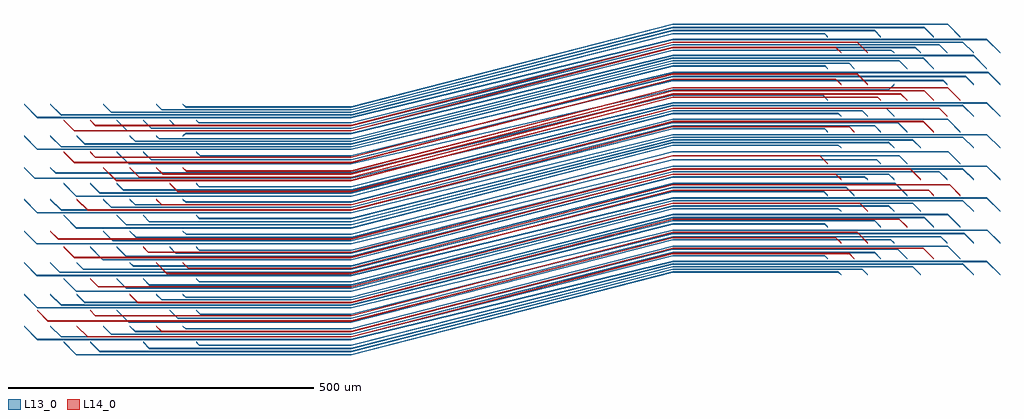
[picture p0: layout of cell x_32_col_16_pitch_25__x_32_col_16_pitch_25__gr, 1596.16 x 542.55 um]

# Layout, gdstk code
import gdstk
lib = gdstk.Library(unit=1e-6, precision=1e-09)
def R(c, l, rs):  # rectangles x0, y0, x1, y1
    for r in rs: c.add(gdstk.rectangle(r[:2], r[2:], *l))
def A(c, l, x, y, w, h, nx, ny, dx, dy):  # array of equal rectangles
    R(c, l, [(x+i*dx, y+j*dy, x+i*dx+w, y+j*dy+h) for i in range(nx) for j in range(ny)])
def P(c, l, *ps):  # polygons
    for p in ps: c.add(gdstk.Polygon(p, *l))
L13_0 = (13, 0)
L14_0 = (14, 0)

x_32_col_16_pitch_25__x_ = lib.new_cell('x_32_col_16_pitch_25__x_32_col_16_pitch_25__gr')
A(x_32_col_16_pitch_25__x_, L13_0, 1425.106, 1466.224, 449.894, 2, 1, 3, 0, 103.68)
A(x_32_col_16_pitch_25__x_, L13_0, 1544.638, 1476.592, 330.362, 2, 1, 3, 0, 103.68)
A(x_32_col_16_pitch_25__x_, L13_0, 1506.522, 1575.088, 368.478, 2, 1, 3, 0, 51.84)
A(x_32_col_16_pitch_25__x_, L13_0, 1626.054, 1585.456, 248.946, 2, 1, 4, 0, 51.84)
A(x_32_col_16_pitch_25__x_, L13_0, 2400, 1601.56, 271.46, 2, 1, 3, 0, 103.68)
A(x_32_col_16_pitch_25__x_, L13_0, 2400, 1610.2, 392.72, 2, 1, 3, 0, 103.68)
A(x_32_col_16_pitch_25__x_, L13_0, 2400, 1680.184, 248.946, 2, 1, 3, 0, 155.52)
A(x_32_col_16_pitch_25__x_, L13_0, 2400, 1685.368, 330.362, 2, 1, 3, 0, 155.52)
A(x_32_col_16_pitch_25__x_, L13_0, 2400, 1695.736, 449.894, 2, 1, 3, 0, 155.52)
A(x_32_col_16_pitch_25__x_, L13_0, 2400, 1709.56, 353.74, 2, 1, 3, 0, 51.84)
A(x_32_col_16_pitch_25__x_, L13_0, 2400, 1718.2, 475, 2, 1, 4, 0, 51.84)
A(x_32_col_16_pitch_25__x_, L13_0, 2400, 1722.52, 513.982, 2, 1, 4, 0, 51.84)
R(x_32_col_16_pitch_25__x_, L13_0, [(1463.222,1471.408,1875,1473.408), (1626.054,1481.776,1875,1483.776), (1361.017,1491.28,1875,1493.28), (1400,1495.6,1875,1497.6), (1482.28,1499.92,1875,1501.92), (1521.26,1504.24,1875,1506.24), (1603.54,1508.56,1875,1510.56), (1510.41,1519.36,1875,1521.36), (1590.53,1525.84,1875,1527.84), (1627.35,1532.32,1875,1534.32), (1361.017,1543.12,1875,1545.12), (1400,1547.44,1875,1549.44), (1438.98,1551.76,1875,1553.76), (1564.56,1556.08,1875,1558.08), (1603.54,1560.4,1875,1562.4), (1360.153,1595.824,1875,1597.824), (1398.272,1601.008,1875,1603.008), (2400,1605.88,2710.44,1607.88), (1436.388,1606.192,1875,1608.192), (1517.804,1611.376,1875,1613.376), (2400,1614.52,2875,1616.52), (2400,1618.84,2913.982,1620.84), (1468.406,1621.744,1875,1623.744), (2400,1628.344,2648.946,1630.344), (1587.938,1632.112,1875,1634.112), (2400,1633.528,2730.362,1635.528), (2400,1638.712,2768.478,1640.712), (2400,1643.896,2849.894,1645.896), (1360.153,1647.664,1875,1649.664), (1484.872,1652.848,1875,1654.848), (2400,1654.264,2757.196,1656.264), (1522.988,1658.032,1875,1660.032), (2400,1659.448,2838.612,1661.448), (1604.404,1663.216,1875,1665.216), (2400,1664.632,2876.728,1666.632), (2400,1669.816,2914.846,1671.816), (2400,1690.552,2811.778,1692.552), (1361.017,1698.64,1875,1700.64), (1400,1702.96,1875,1704.96), (1482.28,1707.28,1875,1709.28), (1521.26,1711.6,1875,1713.6), (1603.54,1715.92,1875,1717.92), (1425.106,1725.424,1875,1727.424), (1463.222,1730.608,1875,1732.608), (2400,1733.32,2647.65,1735.32), (1501.338,1735.792,1875,1737.792), (2400,1739.8,2684.47,1741.8), (2400,1746.28,2764.59,1748.28), (1356.697,1754.8,1875,1756.8), (2400,1757.08,2714.76,1759.08), (1391.36,1763.44,1875,1765.44), (2400,1765.72,2836.02,1767.72), (1510.41,1778.56,1875,1780.56), (1547.23,1785.04,1875,1787.04), (2400,1785.16,2734.25,1787.16), (1627.35,1791.52,1875,1793.52), (2400,1791.64,2771.07,1793.64), (2400,1798.12,2851.19,1800.12), (1361.017,1802.32,1875,1804.32), (1400,1806.64,1875,1808.64), (1438.98,1810.96,1875,1812.96), (1521.26,1815.28,1875,1817.28), (1560.24,1819.6,1875,1821.6), (1603.54,1828.24,1875,1830.24), (1508.25,1832.56,1875,1834.56), (1547.23,1836.88,1875,1838.88), (1586.21,1841.2,1875,1843.2), (1625.19,1845.52,1875,1847.52), (2400,1846.072,2768.478,1848.072), (1361.017,1854.16,1875,1856.16), (1400,1858.48,1875,1860.48), (2400,1860.76,2671.46,1862.76), (1482.28,1862.8,1875,1864.8), (2400,1865.08,2710.44,1867.08), (1564.56,1867.12,1875,1869.12), (2400,1869.4,2749.42,1871.4), (1603.54,1871.44,1875,1873.44), (2400,1891,2645.49,1893), (2400,1899.64,2753.74,1901.64), (2400,1914.76,2842.5,1916.76), (2400,1921.24,2879.32,1923.24), (2400,1927.72,2916.142,1929.72), (2400,1938.52,2649.81,1940.52), (2400,1942.84,2688.79,1944.84), (2400,1947.16,2771.07,1949.16), (2400,1951.48,2810.05,1953.48), (2400,1955.8,2892.332,1957.8), (2400,1964.44,2758.06,1966.44), (2400,1968.76,2797.04,1970.76), (2400,1973.08,2836.02,1975.08), (2400,1977.4,2875,1979.4), (2400,1981.72,2913.982,1983.72), (2400,2001.592,2811.778,2003.592)])
P(x_32_col_16_pitch_25__x_, L13_0, [(2654.13,1986.04),(2654.13,1988.04),(2648.946,1993.224),(2648.946,1991.224)],
  [(2400,1991.224),(2400,1993.224),(1875,1860.48),(1875,1858.48)],
  [(1400,1858.48),(1400,1860.48),(1382.72,1877.76),(1382.72,1875.76)],
  [(2740.73,1986.04),(2740.73,1988.04),(2730.362,1998.408),(2730.362,1996.408)],
  [(2400,1996.408),(2400,1998.408),(1875,1864.8),(1875,1862.8)],
  [(1482.28,1862.8),(1482.28,1864.8),(1469.32,1877.76),(1469.32,1875.76)],
  [(2827.33,1986.04),(2827.33,1988.04),(2811.778,2003.592),(2811.778,2001.592)],
  [(2400,2001.592),(2400,2003.592),(1875,1869.12),(1875,1867.12)],
  [(1564.56,1867.12),(1564.56,1869.12),(1555.92,1877.76),(1555.92,1875.76)],
  [(2870.63,1986.04),(2870.63,1988.04),(2849.894,2008.776),(2849.894,2006.776)],
  [(2400,2006.776),(2400,2008.776),(1875,1873.44),(1875,1871.44)],
  [(1603.54,1871.44),(1603.54,1873.44),(1599.22,1877.76),(1599.22,1875.76)],
  [(2762.38,1960.12),(2762.38,1962.12),(2758.06,1966.44),(2758.06,1964.44)],
  [(2400,1964.44),(2400,1966.44),(1875,1834.56),(1875,1832.56)],
  [(1508.25,1832.56),(1508.25,1834.56),(1490.97,1851.84),(1490.97,1849.84)],
  [(2805.68,1960.12),(2805.68,1962.12),(2797.04,1970.76),(2797.04,1968.76)],
  [(2400,1968.76),(2400,1970.76),(1875,1838.88),(1875,1836.88)],
  [(1547.23,1836.88),(1547.23,1838.88),(1534.27,1851.84),(1534.27,1849.84)],
  [(2848.98,1960.12),(2848.98,1962.12),(2836.02,1975.08),(2836.02,1973.08)],
  [(2400,1973.08),(2400,1975.08),(1875,1843.2),(1875,1841.2)],
  [(1586.21,1841.2),(1586.21,1843.2),(1577.57,1851.84),(1577.57,1849.84)],
  [(2892.28,1960.12),(2892.28,1962.12),(2875,1979.4),(2875,1977.4)],
  [(2400,1977.4),(2400,1979.4),(1875,1847.52),(1875,1845.52)],
  [(1625.19,1845.52),(1625.19,1847.52),(1620.87,1851.84),(1620.87,1849.84)],
  [(2935.582,1960.12),(2935.582,1962.12),(2913.982,1983.72),(2913.982,1981.72)],
  [(2400,1981.72),(2400,1983.72),(1875,1856.16),(1875,1854.16)],
  [(1361.017,1854.16),(1361.017,1856.16),(1339.417,1877.76),(1339.417,1875.76)],
  [(2654.13,1934.2),(2654.13,1936.2),(2649.81,1940.52),(2649.81,1938.52)],
  [(2400,1938.52),(2400,1940.52),(1875,1808.64),(1875,1806.64)],
  [(1400,1806.64),(1400,1808.64),(1382.72,1825.92),(1382.72,1823.92)],
  [(2697.43,1934.2),(2697.43,1936.2),(2688.79,1944.84),(2688.79,1942.84)],
  [(2400,1942.84),(2400,1944.84),(1875,1812.96),(1875,1810.96)],
  [(1438.98,1810.96),(1438.98,1812.96),(1426.02,1825.92),(1426.02,1823.92)],
  [(2784.03,1934.2),(2784.03,1936.2),(2771.07,1949.16),(2771.07,1947.16)],
  [(2400,1947.16),(2400,1949.16),(1875,1817.28),(1875,1815.28)],
  [(1521.26,1815.28),(1521.26,1817.28),(1512.62,1825.92),(1512.62,1823.92)],
  [(2827.33,1934.2),(2827.33,1936.2),(2810.05,1953.48),(2810.05,1951.48)],
  [(2400,1951.48),(2400,1953.48),(1875,1821.6),(1875,1819.6)],
  [(1560.24,1819.6),(1560.24,1821.6),(1555.92,1825.92),(1555.92,1823.92)],
  [(2913.932,1934.2),(2913.932,1936.2),(2892.332,1957.8),(2892.332,1955.8)],
  [(2400,1955.8),(2400,1957.8),(1875,1830.24),(1875,1828.24)],
  [(1603.54,1828.24),(1603.54,1830.24),(1599.22,1825.92),(1599.22,1823.92)],
  [(2762.38,1908.28),(2762.38,1910.28),(2753.74,1901.64),(2753.74,1899.64)],
  [(2400,1899.64),(2400,1901.64),(1875,1780.56),(1875,1778.56)],
  [(1510.41,1778.56),(1510.41,1780.56),(1490.97,1800),(1490.97,1798)],
  [(2848.98,1908.28),(2848.98,1910.28),(2842.5,1916.76),(2842.5,1914.76)],
  [(2400,1914.76),(2400,1916.76),(1875,1787.04),(1875,1785.04)],
  [(1547.23,1785.04),(1547.23,1787.04),(1534.27,1800),(1534.27,1798)],
  [(2892.28,1908.28),(2892.28,1910.28),(2879.32,1923.24),(2879.32,1921.24)],
  [(2400,1921.24),(2400,1923.24),(1875,1793.52),(1875,1791.52)],
  [(1627.35,1791.52),(1627.35,1793.52),(1620.87,1800),(1620.87,1798)],
  [(2935.582,1908.28),(2935.582,1910.28),(2916.142,1929.72),(2916.142,1927.72)],
  [(2400,1927.72),(2400,1929.72),(1875,1804.32),(1875,1802.32)],
  [(1361.017,1802.32),(1361.017,1804.32),(1339.417,1825.92),(1339.417,1823.92)],
  [(2654.13,1882.36),(2654.13,1884.36),(2645.49,1893),(2645.49,1891)],
  [(2400,1891),(2400,1893),(1875,1765.44),(1875,1763.44)],
  [(1391.36,1763.44),(1391.36,1765.44),(1382.72,1774.08),(1382.72,1772.08)],
  [(2675.78,1856.44),(2675.78,1858.44),(2671.46,1862.76),(2671.46,1860.76)],
  [(2400,1860.76),(2400,1862.76),(1875,1727.424),(1875,1725.424)],
  [(1425.106,1725.424),(1425.106,1727.424),(1404.37,1748.16),(1404.37,1746.16)],
  [(2719.08,1856.44),(2719.08,1858.44),(2710.44,1867.08),(2710.44,1865.08)],
  [(2400,1865.08),(2400,1867.08),(1875,1732.608),(1875,1730.608)],
  [(1463.222,1730.608),(1463.222,1732.608),(1447.67,1748.16),(1447.67,1746.16)],
  [(2762.38,1856.44),(2762.38,1858.44),(2749.42,1871.4),(2749.42,1869.4)],
  [(2400,1869.4),(2400,1871.4),(1875,1737.792),(1875,1735.792)],
  [(1501.338,1735.792),(1501.338,1737.792),(1490.97,1748.16),(1490.97,1746.16)],
  [(2892.28,1856.44),(2892.28,1858.44),(2875,1875.72),(2875,1873.72)],
  [(2400,1873.72),(2400,1875.72),(1875,1742.976),(1875,1740.976)],
  [(1626.054,1740.976),(1626.054,1742.976),(1620.87,1748.16),(1620.87,1746.16)],
  [(2935.582,1856.44),(2935.582,1858.44),(2913.982,1880.04),(2913.982,1878.04)],
  [(2400,1878.04),(2400,1880.04),(1875,1756.8),(1875,1754.8)],
  [(1356.697,1754.8),(1356.697,1756.8),(1339.417,1774.08),(1339.417,1772.08)],
  [(2654.13,1830.52),(2654.13,1832.52),(2648.946,1837.704),(2648.946,1835.704)],
  [(2400,1835.704),(2400,1837.704),(1875,1704.96),(1875,1702.96)],
  [(1400,1702.96),(1400,1704.96),(1382.72,1722.24),(1382.72,1720.24)],
  [(2740.73,1830.52),(2740.73,1832.52),(2730.362,1842.888),(2730.362,1840.888)],
  [(2400,1840.888),(2400,1842.888),(1875,1709.28),(1875,1707.28)],
  [(1482.28,1707.28),(1482.28,1709.28),(1469.32,1722.24),(1469.32,1720.24)],
  [(2784.03,1830.52),(2784.03,1832.52),(2768.478,1848.072),(2768.478,1846.072)],
  [(2400,1846.072),(2400,1848.072),(1875,1713.6),(1875,1711.6)],
  [(1521.26,1711.6),(1521.26,1713.6),(1512.62,1722.24),(1512.62,1720.24)],
  [(2870.63,1830.52),(2870.63,1832.52),(2849.894,1853.256),(2849.894,1851.256)],
  [(2400,1851.256),(2400,1853.256),(1875,1717.92),(1875,1715.92)],
  [(1603.54,1715.92),(1603.54,1717.92),(1599.22,1722.24),(1599.22,1720.24)],
  [(2675.78,1804.6),(2675.78,1806.6),(2671.46,1810.92),(2671.46,1808.92)],
  [(2400,1808.92),(2400,1810.92),(1875,1675.584),(1875,1673.584)],
  [(1425.106,1673.584),(1425.106,1675.584),(1404.37,1696.32),(1404.37,1694.32)],
  [(2762.38,1804.6),(2762.38,1806.6),(2753.74,1815.24),(2753.74,1813.24)],
  [(2400,1813.24),(2400,1815.24),(1875,1680.768),(1875,1678.768)],
  [(1506.522,1678.768),(1506.522,1680.768),(1490.97,1696.32),(1490.97,1694.32)],
  [(2805.68,1804.6),(2805.68,1806.6),(2792.72,1819.56),(2792.72,1817.56)],
  [(2400,1817.56),(2400,1819.56),(1875,1685.952),(1875,1683.952)],
  [(1544.638,1683.952),(1544.638,1685.952),(1534.27,1696.32),(1534.27,1694.32)],
  [(2892.28,1804.6),(2892.28,1806.6),(2875,1823.88),(2875,1821.88)],
  [(2400,1821.88),(2400,1823.88),(1875,1691.136),(1875,1689.136)],
  [(1626.054,1689.136),(1626.054,1691.136),(1620.87,1696.32),(1620.87,1694.32)],
  [(2935.582,1804.6),(2935.582,1806.6),(2913.982,1828.2),(2913.982,1826.2)],
  [(2400,1826.2),(2400,1828.2),(1875,1700.64),(1875,1698.64)],
  [(1361.017,1698.64),(1361.017,1700.64),(1339.417,1722.24),(1339.417,1720.24)],
  [(2740.73,1778.68),(2740.73,1780.68),(2734.25,1787.16),(2734.25,1785.16)],
  [(2400,1785.16),(2400,1787.16),(1875,1654.848),(1875,1652.848)],
  [(1484.872,1652.848),(1484.872,1654.848),(1469.32,1670.4),(1469.32,1668.4)],
  [(2784.03,1778.68),(2784.03,1780.68),(2771.07,1793.64),(2771.07,1791.64)],
  [(2400,1791.64),(2400,1793.64),(1875,1660.032),(1875,1658.032)],
  [(1522.988,1658.032),(1522.988,1660.032),(1512.62,1670.4),(1512.62,1668.4)],
  [(2870.63,1778.68),(2870.63,1780.68),(2851.19,1800.12),(2851.19,1798.12)],
  [(2400,1798.12),(2400,1800.12),(1875,1665.216),(1875,1663.216)],
  [(1604.404,1663.216),(1604.404,1665.216),(1599.22,1670.4),(1599.22,1668.4)],
  [(2719.08,1752.76),(2719.08,1754.76),(2714.76,1759.08),(2714.76,1757.08)],
  [(2400,1757.08),(2400,1759.08),(1875,1623.744),(1875,1621.744)],
  [(1468.406,1621.744),(1468.406,1623.744),(1447.67,1644.48),(1447.67,1642.48)],
  [(2762.38,1752.76),(2762.38,1754.76),(2753.74,1763.4),(2753.74,1761.4)],
  [(2400,1761.4),(2400,1763.4),(1875,1628.928),(1875,1626.928)],
  [(1506.522,1626.928),(1506.522,1628.928),(1490.97,1644.48),(1490.97,1642.48)],
  [(2848.98,1752.76),(2848.98,1754.76),(2836.02,1767.72),(2836.02,1765.72)],
  [(2400,1765.72),(2400,1767.72),(1875,1634.112),(1875,1632.112)],
  [(1587.938,1632.112),(1587.938,1634.112),(1577.57,1644.48),(1577.57,1642.48)],
  [(2892.28,1752.76),(2892.28,1754.76),(2875,1772.04),(2875,1770.04)],
  [(2400,1770.04),(2400,1772.04),(1875,1639.296),(1875,1637.296)],
  [(1626.054,1637.296),(1626.054,1639.296),(1620.87,1644.48),(1620.87,1642.48)],
  [(2935.582,1752.76),(2935.582,1754.76),(2913.982,1776.36),(2913.982,1774.36)],
  [(2400,1774.36),(2400,1776.36),(1875,1649.664),(1875,1647.664)],
  [(1360.153,1647.664),(1360.153,1649.664),(1339.417,1670.4),(1339.417,1668.4)],
  [(2654.13,1726.84),(2654.13,1728.84),(2647.65,1735.32),(2647.65,1733.32)],
  [(2400,1733.32),(2400,1735.32),(1875,1603.008),(1875,1601.008)],
  [(1398.272,1601.008),(1398.272,1603.008),(1382.72,1618.56),(1382.72,1616.56)],
  [(2697.43,1726.84),(2697.43,1728.84),(2684.47,1741.8),(2684.47,1739.8)],
  [(2400,1739.8),(2400,1741.8),(1875,1608.192),(1875,1606.192)],
  [(1436.388,1606.192),(1436.388,1608.192),(1426.02,1618.56),(1426.02,1616.56)],
  [(2784.03,1726.84),(2784.03,1728.84),(2764.59,1748.28),(2764.59,1746.28)],
  [(2400,1746.28),(2400,1748.28),(1875,1613.376),(1875,1611.376)],
  [(1517.804,1611.376),(1517.804,1613.376),(1512.62,1618.56),(1512.62,1616.56)],
  [(2675.78,1700.92),(2675.78,1702.92),(2671.46,1707.24),(2671.46,1705.24)],
  [(2400,1705.24),(2400,1707.24),(1875,1571.904),(1875,1569.904)],
  [(1425.106,1569.904),(1425.106,1571.904),(1404.37,1592.64),(1404.37,1590.64)],
  [(2762.38,1700.92),(2762.38,1702.92),(2753.74,1711.56),(2753.74,1709.56)],
  [(2400,1709.56),(2400,1711.56),(1875,1577.088),(1875,1575.088)],
  [(1506.522,1575.088),(1506.522,1577.088),(1490.97,1592.64),(1490.97,1590.64)],
  [(2805.68,1700.92),(2805.68,1702.92),(2792.72,1715.88),(2792.72,1713.88)],
  [(2400,1713.88),(2400,1715.88),(1875,1582.272),(1875,1580.272)],
  [(1544.638,1580.272),(1544.638,1582.272),(1534.27,1592.64),(1534.27,1590.64)],
  [(2892.28,1700.92),(2892.28,1702.92),(2875,1720.2),(2875,1718.2)],
  [(2400,1718.2),(2400,1720.2),(1875,1587.456),(1875,1585.456)],
  [(1626.054,1585.456),(1626.054,1587.456),(1620.87,1592.64),(1620.87,1590.64)],
  [(2935.582,1700.92),(2935.582,1702.92),(2913.982,1724.52),(2913.982,1722.52)],
  [(2400,1722.52),(2400,1724.52),(1875,1597.824),(1875,1595.824)],
  [(1360.153,1595.824),(1360.153,1597.824),(1339.417,1618.56),(1339.417,1616.56)],
  [(2654.13,1675),(2654.13,1677),(2648.946,1682.184),(2648.946,1680.184)],
  [(2400,1680.184),(2400,1682.184),(1875,1549.44),(1875,1547.44)],
  [(1400,1547.44),(1400,1549.44),(1382.72,1566.72),(1382.72,1564.72)],
  [(2740.73,1675),(2740.73,1677),(2730.362,1687.368),(2730.362,1685.368)],
  [(2400,1685.368),(2400,1687.368),(1875,1553.76),(1875,1551.76)],
  [(1438.98,1551.76),(1438.98,1553.76),(1426.02,1566.72),(1426.02,1564.72)],
  [(2827.33,1675),(2827.33,1677),(2811.778,1692.552),(2811.778,1690.552)],
  [(2400,1690.552),(2400,1692.552),(1875,1558.08),(1875,1556.08)],
  [(1564.56,1556.08),(1564.56,1558.08),(1555.92,1566.72),(1555.92,1564.72)],
  [(2870.63,1675),(2870.63,1677),(2849.894,1697.736),(2849.894,1695.736)],
  [(2400,1695.736),(2400,1697.736),(1875,1562.4),(1875,1560.4)],
  [(1603.54,1560.4),(1603.54,1562.4),(1599.22,1566.72),(1599.22,1564.72)],
  [(2762.38,1649.08),(2762.38,1651.08),(2757.196,1656.264),(2757.196,1654.264)],
  [(2400,1654.264),(2400,1656.264),(1875,1521.36),(1875,1519.36)],
  [(1510.41,1519.36),(1510.41,1521.36),(1490.97,1540.8),(1490.97,1538.8)],
  [(2848.98,1649.08),(2848.98,1651.08),(2838.612,1661.448),(2838.612,1659.448)],
  [(2400,1659.448),(2400,1661.448),(1875,1527.84),(1875,1525.84)],
  [(1590.53,1525.84),(1590.53,1527.84),(1577.57,1540.8),(1577.57,1538.8)],
  [(2892.28,1649.08),(2892.28,1651.08),(2876.728,1666.632),(2876.728,1664.632)],
  [(2400,1664.632),(2400,1666.632),(1875,1534.32),(1875,1532.32)],
  [(1627.35,1532.32),(1627.35,1534.32),(1620.87,1540.8),(1620.87,1538.8)],
  [(2935.582,1649.08),(2935.582,1651.08),(2914.846,1671.816),(2914.846,1669.816)],
  [(2400,1669.816),(2400,1671.816),(1875,1545.12),(1875,1543.12)],
  [(1361.017,1543.12),(1361.017,1545.12),(1339.417,1566.72),(1339.417,1564.72)],
  [(2654.13,1623.16),(2654.13,1625.16),(2648.946,1630.344),(2648.946,1628.344)],
  [(2400,1628.344),(2400,1630.344),(1875,1497.6),(1875,1495.6)],
  [(1400,1495.6),(1400,1497.6),(1382.72,1514.88),(1382.72,1512.88)],
  [(2740.73,1623.16),(2740.73,1625.16),(2730.362,1635.528),(2730.362,1633.528)],
  [(2400,1633.528),(2400,1635.528),(1875,1501.92),(1875,1499.92)],
  [(1482.28,1499.92),(1482.28,1501.92),(1469.32,1514.88),(1469.32,1512.88)],
  [(2784.03,1623.16),(2784.03,1625.16),(2768.478,1640.712),(2768.478,1638.712)],
  [(2400,1638.712),(2400,1640.712),(1875,1506.24),(1875,1504.24)],
  [(1521.26,1504.24),(1521.26,1506.24),(1512.62,1514.88),(1512.62,1512.88)],
  [(2870.63,1623.16),(2870.63,1625.16),(2849.894,1645.896),(2849.894,1643.896)],
  [(2400,1643.896),(2400,1645.896),(1875,1510.56),(1875,1508.56)],
  [(1603.54,1508.56),(1603.54,1510.56),(1599.22,1514.88),(1599.22,1512.88)],
  [(2675.78,1597.24),(2675.78,1599.24),(2671.46,1603.56),(2671.46,1601.56)],
  [(2400,1601.56),(2400,1603.56),(1875,1468.224),(1875,1466.224)],
  [(1425.106,1466.224),(1425.106,1468.224),(1404.37,1488.96),(1404.37,1486.96)],
  [(2719.08,1597.24),(2719.08,1599.24),(2710.44,1607.88),(2710.44,1605.88)],
  [(2400,1605.88),(2400,1607.88),(1875,1473.408),(1875,1471.408)],
  [(1463.222,1471.408),(1463.222,1473.408),(1447.67,1488.96),(1447.67,1486.96)],
  [(2805.68,1597.24),(2805.68,1599.24),(2792.72,1612.2),(2792.72,1610.2)],
  [(2400,1610.2),(2400,1612.2),(1875,1478.592),(1875,1476.592)],
  [(1544.638,1476.592),(1544.638,1478.592),(1534.27,1488.96),(1534.27,1486.96)],
  [(2892.28,1597.24),(2892.28,1599.24),(2875,1616.52),(2875,1614.52)],
  [(2400,1614.52),(2400,1616.52),(1875,1483.776),(1875,1481.776)],
  [(1626.054,1481.776),(1626.054,1483.776),(1620.87,1488.96),(1620.87,1486.96)],
  [(2935.582,1597.24),(2935.582,1599.24),(2913.982,1620.84),(2913.982,1618.84)],
  [(2400,1618.84),(2400,1620.84),(1875,1493.28),(1875,1491.28)],
  [(1361.017,1491.28),(1361.017,1493.28),(1339.417,1514.88),(1339.417,1512.88)])
R(x_32_col_16_pitch_25__x_, L14_0, [(1443.3,1495.6,1875,1497.6), (1564.56,1504.24,1875,1506.24), (1378.347,1521.52,1875,1523.52), (1456.31,1530.16,1875,1532.16), (1525.58,1551.76,1875,1553.76), (1460.63,1577.68,1875,1579.68), (1573.2,1599.28,1875,1601.28), (1607.86,1607.92,1875,1609.92), (1421.65,1625.2,1875,1627.2), (2400,1631.8,2688.79,1633.8), (1542.91,1633.84,1875,1635.84), (2400,1640.44,2810.05,1642.44), (1395.68,1655.44,1875,1657.44), (2400,1657.72,2667.14,1659.72), (2400,1666.36,2701.8,1668.36), (2400,1687.96,2771.07,1689.96), (1443.3,1702.96,1875,1704.96), (1564.56,1711.6,1875,1713.6), (2400,1713.88,2706.12,1715.88), (1590.53,1733.2,1875,1735.2), (2400,1735.48,2818.69,1737.48), (2400,1744.12,2853.35,1746.12), (1490.056,1751.344,1875,1753.344), (1528.172,1756.528,1875,1758.528), (2400,1761.4,2667.14,1763.4), (1566.288,1761.712,1875,1763.712), (1604.404,1766.896,1875,1768.896), (2400,1770.04,2788.4,1772.04), (1421.65,1780.72,1875,1782.72), (1456.31,1789.36,1875,1791.36), (2400,1791.64,2641.17,1793.64), (1421.65,1832.56,1875,1834.56), (2400,1839.16,2688.79,1841.16), (1456.31,1841.2,1875,1843.2), (2400,1847.8,2810.05,1849.8), (2400,1869.4,2836.02,1871.4), (2400,1887.544,2735.546,1889.544), (2400,1892.728,2773.662,1894.728), (2400,1897.912,2811.778,1899.912), (2400,1903.096,2849.894,1905.096), (2400,1916.92,2667.14,1918.92), (2400,1925.56,2701.8,1927.56), (2400,1968.76,2667.14,1970.76), (2400,1977.4,2701.8,1979.4)])
P(x_32_col_16_pitch_25__x_, L14_0, [(2675.78,1960.12),(2675.78,1962.12),(2667.14,1970.76),(2667.14,1968.76)],
  [(2400,1968.76),(2400,1970.76),(1875,1834.56),(1875,1832.56)],
  [(1421.65,1832.56),(1421.65,1834.56),(1404.37,1851.84),(1404.37,1849.84)],
  [(2719.08,1960.12),(2719.08,1962.12),(2701.8,1979.4),(2701.8,1977.4)],
  [(2400,1977.4),(2400,1979.4),(1875,1843.2),(1875,1841.2)],
  [(1456.31,1841.2),(1456.31,1843.2),(1447.67,1851.84),(1447.67,1849.84)],
  [(2675.78,1908.28),(2675.78,1910.28),(2667.14,1918.92),(2667.14,1916.92)],
  [(2400,1916.92),(2400,1918.92),(1875,1782.72),(1875,1780.72)],
  [(1421.65,1780.72),(1421.65,1782.72),(1404.37,1800),(1404.37,1798)],
  [(2719.08,1908.28),(2719.08,1910.28),(2701.8,1927.56),(2701.8,1925.56)],
  [(2400,1925.56),(2400,1927.56),(1875,1791.36),(1875,1789.36)],
  [(1456.31,1789.36),(1456.31,1791.36),(1447.67,1800),(1447.67,1798)],
  [(2740.73,1882.36),(2740.73,1884.36),(2735.546,1889.544),(2735.546,1887.544)],
  [(2400,1887.544),(2400,1889.544),(1875,1753.344),(1875,1751.344)],
  [(1490.056,1751.344),(1490.056,1753.344),(1469.32,1774.08),(1469.32,1772.08)],
  [(2784.03,1882.36),(2784.03,1884.36),(2773.662,1894.728),(2773.662,1892.728)],
  [(2400,1892.728),(2400,1894.728),(1875,1758.528),(1875,1756.528)],
  [(1528.172,1756.528),(1528.172,1758.528),(1512.62,1774.08),(1512.62,1772.08)],
  [(2827.33,1882.36),(2827.33,1884.36),(2811.778,1899.912),(2811.778,1897.912)],
  [(2400,1897.912),(2400,1899.912),(1875,1763.712),(1875,1761.712)],
  [(1566.288,1761.712),(1566.288,1763.712),(1555.92,1774.08),(1555.92,1772.08)],
  [(2870.63,1882.36),(2870.63,1884.36),(2849.894,1905.096),(2849.894,1903.096)],
  [(2400,1903.096),(2400,1905.096),(1875,1768.896),(1875,1766.896)],
  [(1604.404,1766.896),(1604.404,1768.896),(1599.22,1774.08),(1599.22,1772.08)],
  [(2848.98,1856.44),(2848.98,1858.44),(2836.02,1871.4),(2836.02,1869.4)],
  [(2400,1869.4),(2400,1871.4),(1875,1735.2),(1875,1733.2)],
  [(1590.53,1733.2),(1590.53,1735.2),(1577.57,1748.16),(1577.57,1746.16)],
  [(2697.43,1830.52),(2697.43,1832.52),(2688.79,1841.16),(2688.79,1839.16)],
  [(2400,1839.16),(2400,1841.16),(1875,1704.96),(1875,1702.96)],
  [(1443.3,1702.96),(1443.3,1704.96),(1426.02,1722.24),(1426.02,1720.24)],
  [(2827.33,1830.52),(2827.33,1832.52),(2810.05,1849.8),(2810.05,1847.8)],
  [(2400,1847.8),(2400,1849.8),(1875,1713.6),(1875,1711.6)],
  [(1564.56,1711.6),(1564.56,1713.6),(1555.92,1722.24),(1555.92,1720.24)],
  [(2654.13,1778.68),(2654.13,1780.68),(2641.17,1793.64),(2641.17,1791.64)],
  [(2400,1791.64),(2400,1793.64),(1875,1657.44),(1875,1655.44)],
  [(1395.68,1655.44),(1395.68,1657.44),(1382.72,1670.4),(1382.72,1668.4)],
  [(2675.78,1752.76),(2675.78,1754.76),(2667.14,1763.4),(2667.14,1761.4)],
  [(2400,1761.4),(2400,1763.4),(1875,1627.2),(1875,1625.2)],
  [(1421.65,1625.2),(1421.65,1627.2),(1404.37,1644.48),(1404.37,1642.48)],
  [(2805.68,1752.76),(2805.68,1754.76),(2788.4,1772.04),(2788.4,1770.04)],
  [(2400,1770.04),(2400,1772.04),(1875,1635.84),(1875,1633.84)],
  [(1542.91,1633.84),(1542.91,1635.84),(1534.27,1644.48),(1534.27,1642.48)],
  [(2827.33,1726.84),(2827.33,1728.84),(2818.69,1737.48),(2818.69,1735.48)],
  [(2400,1735.48),(2400,1737.48),(1875,1601.28),(1875,1599.28)],
  [(1573.2,1599.28),(1573.2,1601.28),(1555.92,1618.56),(1555.92,1616.56)],
  [(2870.63,1726.84),(2870.63,1728.84),(2853.35,1746.12),(2853.35,1744.12)],
  [(2400,1744.12),(2400,1746.12),(1875,1609.92),(1875,1607.92)],
  [(1607.86,1607.92),(1607.86,1609.92),(1599.22,1618.56),(1599.22,1616.56)],
  [(2719.08,1700.92),(2719.08,1702.92),(2706.12,1715.88),(2706.12,1713.88)],
  [(2400,1713.88),(2400,1715.88),(1875,1579.68),(1875,1577.68)],
  [(1460.63,1577.68),(1460.63,1579.68),(1447.67,1592.64),(1447.67,1590.64)],
  [(2784.03,1675),(2784.03,1677),(2771.07,1689.96),(2771.07,1687.96)],
  [(2400,1687.96),(2400,1689.96),(1875,1553.76),(1875,1551.76)],
  [(1525.58,1551.76),(1525.58,1553.76),(1512.62,1566.72),(1512.62,1564.72)],
  [(2675.78,1649.08),(2675.78,1651.08),(2667.14,1659.72),(2667.14,1657.72)],
  [(2400,1657.72),(2400,1659.72),(1875,1523.52),(1875,1521.52)],
  [(1378.347,1521.52),(1378.347,1523.52),(1361.067,1540.8),(1361.067,1538.8)],
  [(2719.08,1649.08),(2719.08,1651.08),(2701.8,1668.36),(2701.8,1666.36)],
  [(2400,1666.36),(2400,1668.36),(1875,1532.16),(1875,1530.16)],
  [(1456.31,1530.16),(1456.31,1532.16),(1447.67,1540.8),(1447.67,1538.8)],
  [(2697.43,1623.16),(2697.43,1625.16),(2688.79,1633.8),(2688.79,1631.8)],
  [(2400,1631.8),(2400,1633.8),(1875,1497.6),(1875,1495.6)],
  [(1443.3,1495.6),(1443.3,1497.6),(1426.02,1514.88),(1426.02,1512.88)],
  [(2827.33,1623.16),(2827.33,1625.16),(2810.05,1642.44),(2810.05,1640.44)],
  [(2400,1640.44),(2400,1642.44),(1875,1506.24),(1875,1504.24)],
  [(1564.56,1504.24),(1564.56,1506.24),(1555.92,1514.88),(1555.92,1512.88)])

lib.write_gds('x_32_col_16_pitch_25__x_32_col_16_pitch_25__gr.gds')
